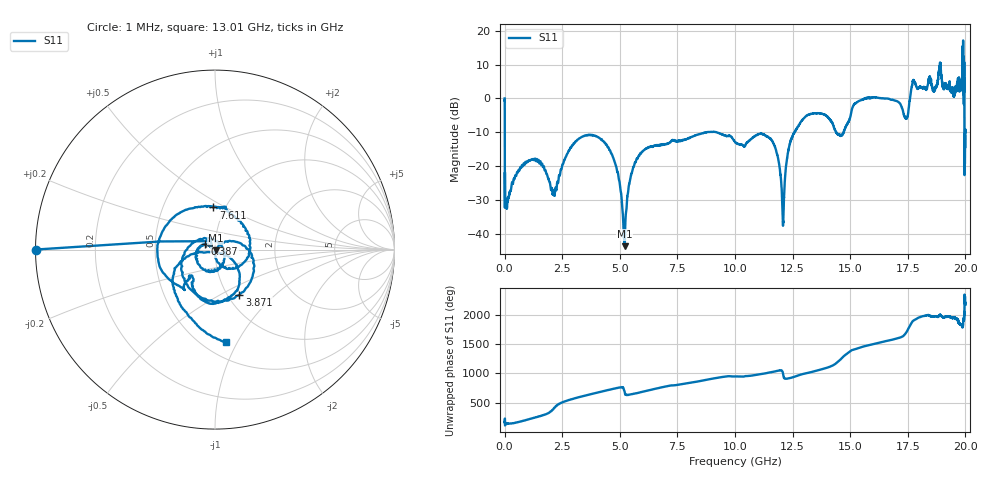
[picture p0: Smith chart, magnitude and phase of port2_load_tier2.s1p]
! Created with skrf 1.8.0 (http://scikit-rf.org).
# GHz S RI R 50.0
!freq ReS11 ImS11
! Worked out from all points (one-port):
!   10001 points, 1 MHz to 20 GHz, reference 50 ohm
!   lowest |S11| = -43.5 dB at 5.215 GHz (marker M1), VSWR 1.01, Z = 50.5 - j0.488 ohm
!   |S11| at or under -10 dB: 8.946 MHz to 8.728 GHz (8.719 GHz wide, 200 % of centre); 9.218 GHz to 12.58 GHz (3.363 GHz wide, 30.9 % of centre); 14.4 GHz to 14.71 GHz (305.1 MHz wide, 2.1 % of centre) (the widest 3 of 9)
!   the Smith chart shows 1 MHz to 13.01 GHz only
!   S11 on the Smith chart (normalised r, x): 1 MHz: 0.00, +0.00; 387 MHz: 0.89, +0.05; 3.871 GHz: 1.13, -0.62; 7.611 GHz: 0.88, +0.44; 13.01 GHz: 0.63, -0.90
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0.001  -1 0.000218
0.1129944  -0.0211 0.0174
0.3869807  -0.0555 0.0302
2.500875  -0.0844 0.0584
3.870807  0.1364 -0.2519
5.00075  0.0422 0.0372
5.214739  0.00461 -0.00483
5.80871  0.0918 -0.1068
7.500625  0.023 0.2345
7.61062  -0.00893 0.2346
10.0005  -0.1515 -0.171
11.55042  0.1264 -0.2199
12.0804  0.00439 -0.014
12.50038  -0.2314 -0.1567
13.01035  0.0609 -0.5174
14.27029  0.1982 0.3493
15.00025  0.2671 -0.4533
15.52622  0.9281 0.2178
16.25619  0.0892 1.01
17.10614  -0.8496 0.2298
17.50013  0.3216 -0.4599
17.75611  -0.4618 1.751
18.33008  -1.347 -0.2902
18.68207  -1.331 0.131
18.89406  -3.019 -0.9857
19.57802  -1.086 0.9739
19.80201  1.194 0.6616
20  0.3299 0.0751
